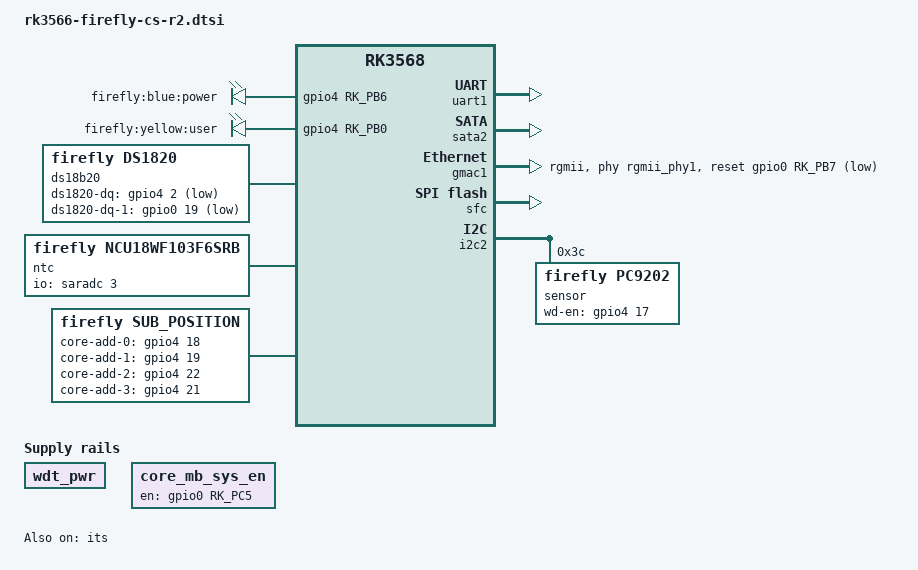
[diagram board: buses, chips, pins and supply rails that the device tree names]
// SPDX-License-Identifier: (GPL-2.0+ OR MIT)
/*
 * Copyright (c) 2020 Rockchip Electronics Co., Ltd.
 *
 */

#include "rk3568-firefly-port.dtsi"
#include "rk3566-diff.dtsi"

/ {
    firefly_leds: leds {
       compatible = "gpio-leds";
       power_led: power {
           label = "firefly:blue:power";
           linux,default-trigger = "ir-power-click";
           default-state = "on";
           gpios = <&gpio4 RK_PB6 GPIO_ACTIVE_HIGH>;
           pinctrl-names = "default";
           pinctrl-0 = <&led_power>;
       };

       user_led: user {
           label = "firefly:yellow:user";
           linux,default-trigger = "ir-user-click";
           default-state = "off";
           gpios = <&gpio4 RK_PB0 GPIO_ACTIVE_HIGH>;
           pinctrl-names = "default";
           pinctrl-0 = <&led_user>;
       };
   };

    ds18b20 {
        status = "okay";
        compatible = "firefly,ds1820";
        ds1820-dq = <&gpio4 2 GPIO_ACTIVE_LOW>; //new R2 version
        ds1820-dq-1 = <&gpio0 19 GPIO_ACTIVE_LOW>; // old R2 version
    }; 

    ntc {
        compatible = "firefly,ncu18wf103f6srb";
        pullup-uv = <1800000>;
        pullup-ohm = <10000>;
        pulldown-ohm = <0>;
        io-channels = <&saradc 3>;
    };

    wdt_pwr: wdt-pwr-regulator {
        compatible = "regulator-fixed";
        enable-active-high;
        regulator-always-on;
        regulator-boot-on;
        pinctrl-names = "default";
        pinctrl-0 = <&wdt_pwr_drv>;
        regulator-name = "wdt_pwr";
    };
    sub_position {
        status = "okay";
        compatible = "firefly,sub_position";
        core-add-0 = <&gpio4 18 GPIO_ACTIVE_HIGH>;
        core-add-1 = <&gpio4 19 GPIO_ACTIVE_HIGH>;
        core-add-2 = <&gpio4 22 GPIO_ACTIVE_HIGH>;
        core-add-3 = <&gpio4 21 GPIO_ACTIVE_HIGH>;
    }; 

    core_mb_sys_en: core-mb-sys-en-regulator {
        compatible = "regulator-fixed";
        enable-active-high;
        regulator-always-on;
        regulator-boot-on;
        pinctrl-names = "default";
        gpio = <&gpio0 RK_PC5 GPIO_ACTIVE_HIGH>;
        pinctrl-0 = <&core_mb_sys_en_drv>;
        regulator-name = "core_mb_sys_en";
    };
};

&uart1 {
    pinctrl-names = "default";
    pinctrl-0 = <&uart1m0_xfer &uart1m0_ctsn>;
    status = "okay";
};

&pcie2x1 {
    status = "disabled";
};

&sata2 {
    status = "okay";
};

&its {
    status = "okay";
};

&pinctrl {
    leds {
         led_power: led-power {
             rockchip,pins = <4 RK_PB6 RK_FUNC_GPIO &pcfg_pull_none>;
         };

         led_user: led-user {
             rockchip,pins = <4 RK_PB0 RK_FUNC_GPIO &pcfg_pull_none>;
         };
    };
    wdt-pwr {
        wdt_pwr_drv: wdt-pwr-drv {
            rockchip,pins = <3 1 RK_FUNC_GPIO &pcfg_pull_none>;
        };
    };
    core-mb-sys-en {
        core_mb_sys_en_drv: core-mb-sys-en-drv {
            rockchip,pins = <0 RK_PC5 RK_FUNC_GPIO &pcfg_pull_up>;
        };
    };
};

&gmac1 {
    phy-mode = "rgmii";
    clock_in_out = "input";

    snps,reset-gpio = <&gpio0 RK_PB7 GPIO_ACTIVE_LOW>;
    snps,reset-active-low;
    /* Reset time is 20ms, 100ms for rtl8211f */
    snps,reset-delays-us = <0 20000 100000>;

    assigned-clocks = <&cru SCLK_GMAC1_RX_TX>, <&cru SCLK_GMAC1>;
    assigned-clock-parents = <&cru SCLK_GMAC1_RGMII_SPEED>, <&gmac1_clkin>;

    pinctrl-names = "default";
    pinctrl-0 = <&gmac1m0_miim
             &gmac1m0_tx_bus2
             &gmac1m0_rx_bus2
             &gmac1m0_rgmii_clk
             &gmac1m0_rgmii_bus
             &gmac1m0_clkinout>;

    tx_delay = <0x48>;
    rx_delay = <0x2e>;

    phy-handle = <&rgmii_phy1>;
    status = "okay";
};

// for cs_r2 nor flash
&sfc{
 rk3566-fspi-two-line;
 status = "okay";
};

&i2c2{
    status = "okay";
    pinctrl-0 = <&i2c2m1_xfer>;
    sensor@3c{
        status = "okay";
        compatible = "firefly,pc9202";
        reg = <0x3c>;
        wd-en-gpio = <&gpio4 17 GPIO_ACTIVE_HIGH>;
    };
};

//for recovery key in cs_r2
&adc_keys {
    recovery-key {
        keyvalue-low = <0>;
        keyvalue-high = <200>;
    };
};

&vcc3v3_lcd1_n {
 /delete-property/ gpio;
};
